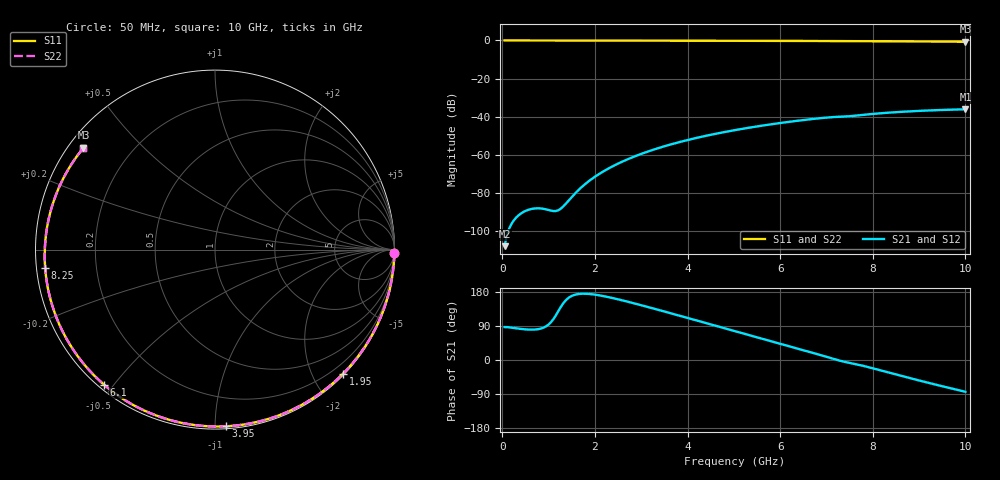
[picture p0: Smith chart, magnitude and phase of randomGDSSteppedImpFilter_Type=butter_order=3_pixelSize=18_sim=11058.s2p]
! freq	dB(S11)	phase(S11)	dB(S12)	phase(S12)
!  dB(S21)	phase(S21)	dB(S22)	phase(S22)
!S-par simulation data
#  GHz  S  DB  R 50
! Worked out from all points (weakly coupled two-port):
!   200 points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, 50 MHz to 10 GHz, reference 50 ohm
!   highest |S21| = -36.07 dB at 10 GHz (marker M1); lowest = -107.8 dB at 50 MHz (marker M2)
!   lowest |S11| = -0.7 dB at 10 GHz (marker M3), VSWR 26.27, Z = 2.12 + j17.1 ohm
!   |S11| at or under -10 dB: nowhere
!   |S22| runs from -0.7 to 0.0 dB; largest |S21 - S12| = 0
!   S11 on the Smith chart (normalised r, x): 50 MHz: 1, -98; 1.95 GHz: 0.02, -2.47; 3.95 GHz: 0.01, -1.06; 6.1 GHz: 0.02, -0.47; 8.25 GHz: 0.02, -0.05; 10 GHz: 0.04, +0.34
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0.05  -0.00 -1.2  -107.78 86.8  -107.78 86.8  -0.00 -1.2
0.8  -0.02 -18.3  -87.95 82.0  -87.95 82.0  -0.02 -18.3
1.55  -0.04 -35.2  -80.70 171.5  -80.70 171.5  -0.04 -35.2
1.6  -0.05 -36.3  -79.45 173.1  -79.45 173.1  -0.05 -36.3
1.75  -0.05 -39.7  -76.05 174.9  -76.05 174.9  -0.05 -39.7
1.95  -0.06 -44.1  -72.26 173.3  -72.26 173.3  -0.06 -44.1
2.25  -0.06 -50.6  -67.66 167.0  -67.66 167.0  -0.06 -50.6
2.6  -0.07 -58.2  -63.39 157.2  -63.39 157.2  -0.07 -58.2
3  -0.09 -66.7  -59.44 144.6  -59.44 144.6  -0.09 -66.7
3.4  -0.10 -75.1  -56.18 131.3  -56.18 131.3  -0.10 -75.1
3.95  -0.12 -86.4  -52.48 112.7  -52.48 112.7  -0.12 -86.4
4.5  -0.14 -97.5  -49.43 94.0  -49.43 94.0  -0.14 -97.5
5.05  -0.17 -108.5  -46.87 75.3  -46.87 75.3  -0.17 -108.4
6.1  -0.23 -129.3  -42.93 39.7  -42.93 39.7  -0.23 -129.2
6.7  -0.28 -141.3  -41.15 18.9  -41.15 18.9  -0.28 -141.2
7.5  -0.35 -157.7  -39.69 -7.6  -39.69 -7.6  -0.35 -157.6
8.25  -0.43 -173.9  -37.99 -30.0  -37.99 -30.0  -0.43 -173.8
8.35  -0.44 -176.1  -37.82 -33.3  -37.82 -33.3  -0.44 -176.0
8.8  -0.50 173.4  -37.14 -47.7  -37.14 -47.7  -0.50 173.6
9.2  -0.55 163.7  -36.68 -60.2  -36.68 -60.2  -0.55 163.8
9.6  -0.60 153.3  -36.33 -72.2  -36.33 -72.2  -0.60 153.5
10  -0.66 142.3  -36.07 -83.8  -36.07 -83.8  -0.66 142.4
